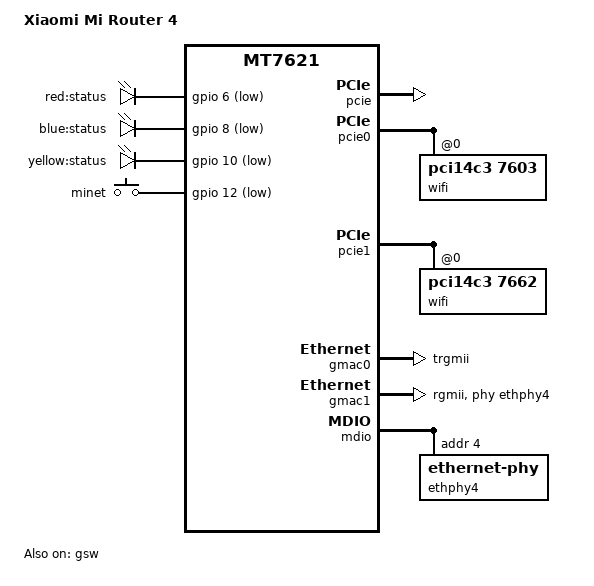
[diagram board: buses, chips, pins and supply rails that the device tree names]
// SPDX-License-Identifier: GPL-2.0-or-later OR MIT

#include "mt7621_xiaomi_nand_128m.dtsi"

/ {
	compatible = "xiaomi,mi-router-4", "mediatek,mt7621-soc";
	model = "Xiaomi Mi Router 4";

	aliases {
		led-boot = &led_status_yellow;
		led-failsafe = &led_status_red;
		led-running = &led_status_blue;
		led-upgrade = &led_status_yellow;
		label-mac-device = &gmac0;
	};

	leds {
		compatible = "gpio-leds";

		led_status_red: status_red {
			label = "red:status";
			gpios = <&gpio 6 GPIO_ACTIVE_LOW>;
		};

		led_status_blue: status_blue {
			label = "blue:status";
			gpios = <&gpio 8 GPIO_ACTIVE_LOW>;
		};

		led_status_yellow: status_yellow {
			label = "yellow:status";
			gpios = <&gpio 10 GPIO_ACTIVE_LOW>;
		};
	};
};

&keys {
	minet {
		label = "minet";
		gpios = <&gpio 12 GPIO_ACTIVE_LOW>;
		linux,code = <KEY_WPS_BUTTON>;
	};
};

&pcie {
	status = "okay";
};

&pcie0 {
	wifi@0,0 {
		compatible = "pci14c3,7603";
		reg = <0x0000 0 0 0 0>;
		mediatek,mtd-eeprom = <&factory 0x0000>;
		ieee80211-freq-limit = <2400000 2500000>;
	};
};

&pcie1 {
	wifi@0,0 {
		compatible = "pci14c3,7662";
		reg = <0x0000 0 0 0 0>;
		mediatek,mtd-eeprom = <&factory 0x8000>;
		ieee80211-freq-limit = <5000000 6000000>;
	};
};

&gmac0 {
	nvmem-cells = <&macaddr_factory_e000>;
	nvmem-cell-names = "mac-address";
	phy-mode = "trgmii";
};

&gmac1 {
	status = "okay";
	phy-handle = <&ethphy4>;
	phy-mode = "rgmii";

	nvmem-cells = <&macaddr_factory_e006>;
	nvmem-cell-names = "mac-address";
};

&mdio {
	ethphy4: ethernet-phy@4 {
		reg = <4>;
	};
};

&switch0 {
	/* must delete compatible property */
	/delete-property/ compatible;
};

&gsw {
	compatible = "mediatek,mt753x";
	status = "okay";

	mediatek,mdio = <&mdio>;
	mediatek,portmap = "llllw";
	mt7530,direct-phy-access;
	resets = <&rstctrl 2>;
	reset-names = "mcm";
	mediatek,mcm;

	#address-cells = <1>;
	#size-cells = <0>;

	port5: port@5 {
		compatible = "mediatek,mt753x-port";
		reg = <5>;
		phy-mode = "rgmii";
		phy-address = <0x4>;
	};

	port6: port@6 {
		compatible = "mediatek,mt753x-port";
		reg = <6>;
		phy-mode = "trgmii";
		fixed-link {
			speed = <1000>;
			full-duplex;
		};
	};
};

&state_default {
	gpio {
		groups = "jtag", "uart2", "uart3", "wdt";
		function = "gpio";
	};
};

&factory {
	compatible = "nvmem-cells";
	#address-cells = <1>;
	#size-cells = <1>;

	macaddr_factory_e000: macaddr@e000 {
		reg = <0xe000 0x6>;
	};

	macaddr_factory_e006: macaddr@e006 {
		reg = <0xe006 0x6>;
	};
};
